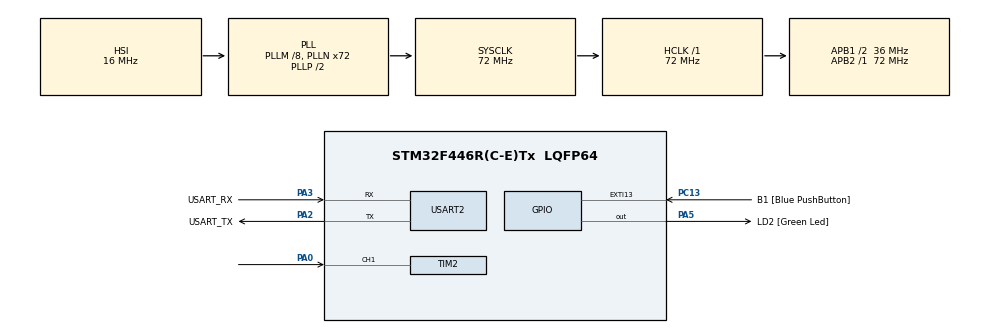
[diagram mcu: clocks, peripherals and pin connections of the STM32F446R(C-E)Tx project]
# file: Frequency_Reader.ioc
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Mcu.Family=STM32F4
Mcu.Name=STM32F446R(C-E)Tx
Mcu.Package=LQFP64
NVIC.PriorityGroup=NVIC_PRIORITYGROUP_0
NVIC.TIM2_IRQn=true\:0\:0\:false\:false\:true\:true\:true\:true
PA0-WKUP.Signal=S_TIM2_CH1_ETR
PA13.GPIO_Label=TMS
PA13.Mode=Serial_Wire
PA13.Signal=SYS_JTMS-SWDIO
PA14.GPIO_Label=TCK
PA14.Mode=Serial_Wire
PA14.Signal=SYS_JTCK-SWCLK
PA2.GPIO_Label=USART_TX
PA2.Mode=Asynchronous
PA2.Signal=USART2_TX
PA3.GPIO_Label=USART_RX
PA3.Mode=Asynchronous
PA3.Signal=USART2_RX
PA5.GPIO_Label=LD2 [Green Led]
PA5.Signal=GPIO_Output
PB3.GPIO_Label=SWO
PB3.Signal=SYS_JTDO-SWO
PC13.GPIO_Label=B1 [Blue PushButton]
PC13.GPIO_ModeDefaultEXTI=GPIO_MODE_IT_FALLING
PC13.Signal=GPXTI13
PC14-OSC32_IN.Mode=LSE-External-Oscillator
PC14-OSC32_IN.Signal=RCC_OSC32_IN
PC15-OSC32_OUT.Mode=LSE-External-Oscillator
PC15-OSC32_OUT.Signal=RCC_OSC32_OUT
PH0-OSC_IN.Mode=HSE-External-Oscillator
PH0-OSC_IN.Signal=RCC_OSC_IN
PH1-OSC_OUT.Mode=HSE-External-Oscillator
PH1-OSC_OUT.Signal=RCC_OSC_OUT
ProjectManager.HeapSize=0x200
ProjectManager.StackSize=0x400
ProjectManager.TargetToolchain=STM32CubeIDE
RCC.48MHZClocksFreq_Value=84000000
RCC.AHBFreq_Value=72000000
RCC.APB1CLKDivider=RCC_HCLK_DIV2
RCC.APB1Freq_Value=36000000
RCC.APB1TimFreq_Value=72000000
RCC.APB2Freq_Value=72000000
RCC.APB2TimFreq_Value=72000000
RCC.CortexFreq_Value=72000000
RCC.FLatency-AdvancedSettings=FLASH_LATENCY_2
RCC.HCLKFreq_Value=72000000
RCC.HSE_VALUE=8000000
RCC.HSI_VALUE=16000000
RCC.PLLM=8
RCC.PLLN=72
RCC.SYSCLKFreq_VALUE=72000000
RCC.SYSCLKSource=RCC_SYSCLKSOURCE_PLLCLK
RCC.USBFreq_Value=72000000
RCC.VCOOutputFreq_Value=144000000
SH.S_TIM2_CH1_ETR.0=TIM2_CH1,Input_Capture1_from_TI1
TIM2.AutoReloadPreload=TIM_AUTORELOAD_PRELOAD_ENABLE
TIM2.Channel-Input_Capture1_from_TI1=TIM_CHANNEL_1
TIM2.Period=65535
USART2.VirtualMode=VM_ASYNC
VP_TIM2_VS_ClockSourceINT.Mode=Internal
board=NUCLEO-F446RE

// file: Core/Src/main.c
/* USER CODE BEGIN Header */
/**
  ******************************************************************************
  * @file           : main.c
  * @brief          : Main program body
  ******************************************************************************
  * @attention
  *
  * Copyright (c) 2022 STMicroelectronics.
  * All rights reserved.
  *
  * This software is licensed under terms that can be found in the LICENSE file
  * in the root directory of this software component.
  * If no LICENSE file comes with this software, it is provided AS-IS.
  *
  ******************************************************************************
  */
/* USER CODE END Header */
#include "main.h"

/* USER CODE BEGIN PM */
#define IDLE   0
#define DONE   1
#define F_CLK  72000000UL
/* USER CODE END PM */

 TIM_HandleTypeDef htim2;

UART_HandleTypeDef huart2;

/* USER CODE BEGIN PV */

volatile uint8_t gu8_State = IDLE;
volatile uint8_t gu8_MSG[35] = {'\0'};
volatile uint32_t gu32_T1 = 0;
volatile uint32_t gu32_T2 = 0;
volatile uint32_t gu32_Ticks = 0;
volatile uint16_t gu16_TIM2_OVC = 0;
volatile uint32_t gu32_Freq = 0;
/* USER CODE END PV */

void SystemClock_Config(void);
static void MX_GPIO_Init(void);
static void MX_USART2_UART_Init(void);
static void MX_TIM2_Init(void);

int main(void)
{

  /* MCU Configuration--------------------------------------------------------*/

  /* Reset of all peripherals, Initializes the Flash interface and the Systick. */
  HAL_Init();

  /* Configure the system clock */
  SystemClock_Config();

  /* Initialize all configured peripherals */
  MX_GPIO_Init();
  MX_USART2_UART_Init();
  MX_TIM2_Init();
  /* USER CODE BEGIN 2 */
  HAL_TIM_Base_Start_IT(&htim2);
  HAL_TIM_IC_Start_IT(&htim2, TIM_CHANNEL_1);

  sprintf(gu8_MSG, "Freqency Reader Initialized\n\r", gu32_Freq);
  HAL_UART_Transmit(&huart2, gu8_MSG, sizeof(gu8_MSG), 100);
  /* USER CODE END 2 */

  /* Infinite loop */
  while (1)
  {

  }
}

void SystemClock_Config(void)
{
  RCC_OscInitTypeDef RCC_OscInitStruct = {0};
  RCC_ClkInitTypeDef RCC_ClkInitStruct = {0};

  /** Configure the main internal regulator output voltage
  */
  __HAL_RCC_PWR_CLK_ENABLE();
  __HAL_PWR_VOLTAGESCALING_CONFIG(PWR_REGULATOR_VOLTAGE_SCALE3);

  /** Initializes the RCC Oscillators according to the specified parameters
  * in the RCC_OscInitTypeDef structure.
  */
  RCC_OscInitStruct.OscillatorType = RCC_OSCILLATORTYPE_HSI;
  RCC_OscInitStruct.HSIState = RCC_HSI_ON;
  RCC_OscInitStruct.HSICalibrationValue = RCC_HSICALIBRATION_DEFAULT;
  RCC_OscInitStruct.PLL.PLLState = RCC_PLL_ON;
  RCC_OscInitStruct.PLL.PLLSource = RCC_PLLSOURCE_HSI;
  RCC_OscInitStruct.PLL.PLLM = 8;
  RCC_OscInitStruct.PLL.PLLN = 72;
  RCC_OscInitStruct.PLL.PLLP = RCC_PLLP_DIV2;
  RCC_OscInitStruct.PLL.PLLQ = 2;
  RCC_OscInitStruct.PLL.PLLR = 2;
  if (HAL_RCC_OscConfig(&RCC_OscInitStruct) != HAL_OK)
  {
    Error_Handler();
  }

  /** Initializes the CPU, AHB and APB buses clocks
  */
  RCC_ClkInitStruct.ClockType = RCC_CLOCKTYPE_HCLK|RCC_CLOCKTYPE_SYSCLK
                              |RCC_CLOCKTYPE_PCLK1|RCC_CLOCKTYPE_PCLK2;
  RCC_ClkInitStruct.SYSCLKSource = RCC_SYSCLKSOURCE_PLLCLK;
  RCC_ClkInitStruct.AHBCLKDivider = RCC_SYSCLK_DIV1;
  RCC_ClkInitStruct.APB1CLKDivider = RCC_HCLK_DIV2;
  RCC_ClkInitStruct.APB2CLKDivider = RCC_HCLK_DIV1;

  if (HAL_RCC_ClockConfig(&RCC_ClkInitStruct, FLASH_LATENCY_2) != HAL_OK)
  {
    Error_Handler();
  }
}

static void MX_TIM2_Init(void)
{

  TIM_ClockConfigTypeDef sClockSourceConfig = {0};
  TIM_MasterConfigTypeDef sMasterConfig = {0};
  TIM_IC_InitTypeDef sConfigIC = {0};

  htim2.Instance = TIM2;
  htim2.Init.Prescaler = 0;
  htim2.Init.CounterMode = TIM_COUNTERMODE_UP;
  htim2.Init.Period = 65535;
  htim2.Init.ClockDivision = TIM_CLOCKDIVISION_DIV1;
  htim2.Init.AutoReloadPreload = TIM_AUTORELOAD_PRELOAD_ENABLE;
  if (HAL_TIM_Base_Init(&htim2) != HAL_OK)
  {
    Error_Handler();
  }
  sClockSourceConfig.ClockSource = TIM_CLOCKSOURCE_INTERNAL;
  if (HAL_TIM_ConfigClockSource(&htim2, &sClockSourceConfig) != HAL_OK)
  {
    Error_Handler();
  }
  if (HAL_TIM_IC_Init(&htim2) != HAL_OK)
  {
    Error_Handler();
  }
  sMasterConfig.MasterOutputTrigger = TIM_TRGO_RESET;
  sMasterConfig.MasterSlaveMode = TIM_MASTERSLAVEMODE_DISABLE;
  if (HAL_TIMEx_MasterConfigSynchronization(&htim2, &sMasterConfig) != HAL_OK)
  {
    Error_Handler();
  }
  sConfigIC.ICPolarity = TIM_INPUTCHANNELPOLARITY_RISING;
  sConfigIC.ICSelection = TIM_ICSELECTION_DIRECTTI;
  sConfigIC.ICPrescaler = TIM_ICPSC_DIV1;
  sConfigIC.ICFilter = 0;
  if (HAL_TIM_IC_ConfigChannel(&htim2, &sConfigIC, TIM_CHANNEL_1) != HAL_OK)
  {
    Error_Handler();
  }

}

static void MX_USART2_UART_Init(void)
{

  huart2.Instance = USART2;
  huart2.Init.BaudRate = 115200;
  huart2.Init.WordLength = UART_WORDLENGTH_8B;
  huart2.Init.StopBits = UART_STOPBITS_1;
  huart2.Init.Parity = UART_PARITY_NONE;
  huart2.Init.Mode = UART_MODE_TX_RX;
  huart2.Init.HwFlowCtl = UART_HWCONTROL_NONE;
  huart2.Init.OverSampling = UART_OVERSAMPLING_16;
  if (HAL_UART_Init(&huart2) != HAL_OK)
  {
    Error_Handler();
  }

}

static void MX_GPIO_Init(void)
{
  GPIO_InitTypeDef GPIO_InitStruct = {0};

  /* GPIO Ports Clock Enable */
  __HAL_RCC_GPIOC_CLK_ENABLE();
  __HAL_RCC_GPIOH_CLK_ENABLE();
  __HAL_RCC_GPIOA_CLK_ENABLE();
  __HAL_RCC_GPIOB_CLK_ENABLE();

  /*Configure GPIO pin Output Level */
  HAL_GPIO_WritePin(LD2_GPIO_Port, LD2_Pin, GPIO_PIN_RESET);

  /*Configure GPIO pin : B1_Pin */
  GPIO_InitStruct.Pin = B1_Pin;
  GPIO_InitStruct.Mode = GPIO_MODE_IT_FALLING;
  GPIO_InitStruct.Pull = GPIO_NOPULL;
  HAL_GPIO_Init(B1_GPIO_Port, &GPIO_InitStruct);

  /*Configure GPIO pin : LD2_Pin */
  GPIO_InitStruct.Pin = LD2_Pin;
  GPIO_InitStruct.Mode = GPIO_MODE_OUTPUT_PP;
  GPIO_InitStruct.Pull = GPIO_NOPULL;
  GPIO_InitStruct.Speed = GPIO_SPEED_FREQ_LOW;
  HAL_GPIO_Init(LD2_GPIO_Port, &GPIO_InitStruct);

}

/* USER CODE BEGIN 4 */

void HAL_TIM_IC_CaptureCallback(TIM_HandleTypeDef* htim)
{
    if(gu8_State == IDLE)
    {
        gu32_T1 = TIM2->CCR1;
        gu16_TIM2_OVC = 0;
        gu8_State = DONE;
    }
    else if(gu8_State == DONE)
    {
        gu32_T2 = TIM2->CCR1;
        gu32_Ticks = (gu32_T2 + (gu16_TIM2_OVC * 65536)) - gu32_T1;
        gu32_Freq = (uint32_t)(F_CLK/gu32_Ticks);
        if(gu32_Freq != 0)
        {
          memset(gu8_MSG, 0, sizeof(gu8_MSG));
          sprintf(gu8_MSG, "Frequency = %lu Hz\n\r", gu32_Freq);
          HAL_UART_Transmit(&huart2, gu8_MSG, sizeof(gu8_MSG), 100);
        }
        gu8_State = IDLE;
    }
}

void HAL_TIM_PeriodElapsedCallback(TIM_HandleTypeDef* htim)
{
    gu16_TIM2_OVC++;
}
/* USER CODE END 4 */

void Error_Handler(void)
{
  __disable_irq();
  while (1)
  {
  }
}
